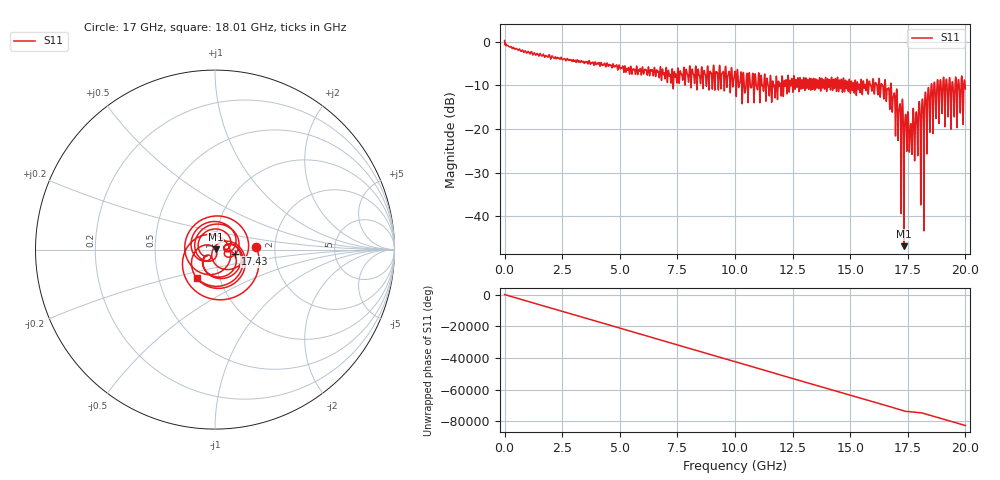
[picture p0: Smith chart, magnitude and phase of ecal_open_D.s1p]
! MS46122B
! 2250307/22442219
! 6/15/2025 10:57:24 AM
! C:\USERS\SPARKY\DOCUMENTS\VNA_DATA\JUNE15_2025\295K\ECAL_OPEN_D.S1P
! CHANNEL.1
! TR.MEASUREMENT
! RAW.DATA
# GHZ S RI R 50.0
! FREQ.GHZ  S11RE  S11IM
!; PortSelection: Port_1
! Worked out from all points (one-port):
!   10001 points, 1 MHz to 20 GHz, reference 50 ohm
!   lowest |S11| = -46.8 dB at 17.33 GHz (marker M1), VSWR 1.01, Z = 50.4 + j0.269 ohm
!   |S11| at or under -10 dB: 16.38 GHz to 16.49 GHz (109 MHz wide, 0.663 % of centre); 16.53 GHz to 16.76 GHz (221.4 MHz wide, 1.33 % of centre); 16.78 GHz to 18.52 GHz (1.735 GHz wide, 9.83 % of centre) (the widest 3 of 97)
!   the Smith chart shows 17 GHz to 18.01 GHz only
!   S11 on the Smith chart (normalised r, x): 17 GHz: 1.59, +0.05; 17.43 GHz: 1.25, -0.06; 18.01 GHz: 0.78, -0.26
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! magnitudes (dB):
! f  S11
! 1 MHz  0.2
! 2.501 GHz  -4.2
! 5.001 GHz  -5.9
! 7.501 GHz  -7.3
! 10 GHz  -6.8
! 12.5 GHz  -10.7
! 15 GHz  -11.6
! 16.44 GHz  -11.5
! 17 GHz  -12.8
! 17.21 GHz  -23.9
! 17.28 GHz  -13.8
! 17.33 GHz  -46.8
! 17.43 GHz  -18.7
! 17.5 GHz  -16.1
! 17.86 GHz  -16.2
! 17.93 GHz  -25.4
! 18.01 GHz  -14.5
! 18.07 GHz  -29.8
! 18.13 GHz  -13.2
! 18.19 GHz  -35.1
! 18.27 GHz  -11.7
! 18.33 GHz  -25.1
! 18.39 GHz  -10.5
! 18.46 GHz  -20.6
! 18.52 GHz  -9.7
! 18.72 GHz  -17.6
! 19.45 GHz  -9.3
! 20 GHz  -10.9
